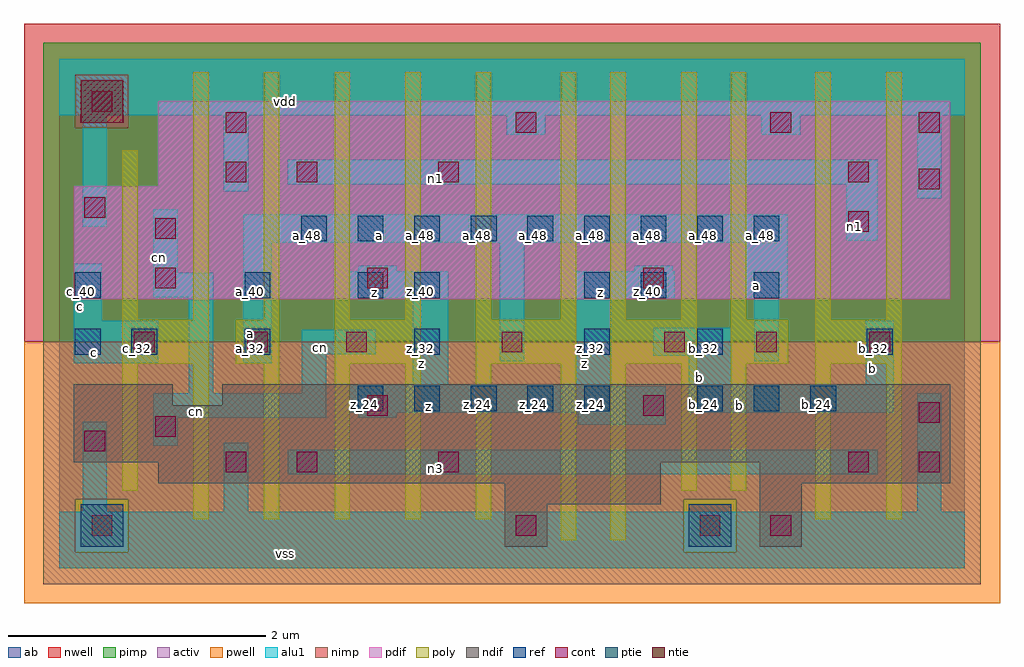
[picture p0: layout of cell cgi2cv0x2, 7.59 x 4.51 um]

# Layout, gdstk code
import gdstk
lib = gdstk.Library(unit=1e-6, precision=2.5e-09)
def R(c, l, rs):  # rectangles x0, y0, x1, y1
    for r in rs: c.add(gdstk.rectangle(r[:2], r[2:], *l))
def A(c, l, x, y, w, h, nx, ny, dx, dy):  # array of equal rectangles
    R(c, l, [(x+i*dx, y+j*dy, x+i*dx+w, y+j*dy+h) for i in range(nx) for j in range(ny)])
ndif = (3, 0)
pdif = (4, 0)
ntie = (5, 0)
ptie = (6, 0)
ref = (24, 0)
cont = (25, 0)
pwell = (41, 0)
nwell = (42, 0)
activ = (43, 0)
pimp = (44, 0)
nimp = (45, 0)
poly = (46, 0)
alu1 = (49, 0)
ab = (63, 0)

cgi2cv0x2 = lib.new_cell('cgi2cv0x2')
R(cgi2cv0x2, ndif, [(3.465,0.165,3.795,0.495), (5.445,0.165,5.775,0.66), (3.465,0.495,4.675,0.66), (0.77,0.66,4.675,0.825), (5.445,0.66,6.93,0.825), (0.11,0.825,6.93,1.265), (0.11,1.265,0.88,1.43), (1.265,1.265,6.93,1.43)])
R(cgi2cv0x2, pdif, [(0.11,2.09,6.93,2.97), (0.77,2.97,6.93,3.63)])
R(cgi2cv0x2, ntie, [(0.165,3.465,0.495,3.795)])
R(cgi2cv0x2, ptie, [(0.165,0.165,0.495,0.495), (4.895,0.165,5.225,0.495)])
A(cgi2cv0x2, ref, 2.32, 1.22, 0.2, 0.2, 5, 1, 0.44, 0)
A(cgi2cv0x2, ref, 4.96, 1.22, 0.2, 0.2, 3, 1, 0.44, 0)
A(cgi2cv0x2, ref, 1.44, 1.66, 0.2, 0.2, 3, 1, 1.32, 0)
A(cgi2cv0x2, ref, 1.88, 2.54, 0.2, 0.2, 9, 1, 0.44, 0)
R(cgi2cv0x2, ref, [(0.12,1.66,0.32,1.86), (0.56,1.66,0.76,1.86), (4.96,1.66,5.16,1.86), (6.28,1.66,6.48,1.86), (0.12,2.1,0.32,2.3), (1.44,2.1,1.64,2.3), (2.32,2.1,2.52,2.3), (2.76,2.1,2.96,2.3), (4.08,2.1,4.28,2.3), (4.52,2.1,4.72,2.3), (5.4,2.1,5.6,2.3)])
R(cgi2cv0x2, cont, [(0.25,0.25,0.41,0.41), (3.55,0.25,3.71,0.41), (4.98,0.25,5.14,0.41), (5.53,0.25,5.69,0.41), (1.295,0.745,1.455,0.905), (1.845,0.745,2.005,0.905), (2.945,0.745,3.105,0.905), (6.135,0.745,6.295,0.905), (6.685,0.745,6.845,0.905), (0.195,0.91,0.355,1.07), (0.745,1.02,0.905,1.18), (6.685,1.13,6.845,1.29), (2.395,1.185,2.555,1.345), (4.54,1.185,4.7,1.345), (0.58,1.68,0.74,1.84), (1.46,1.68,1.62,1.84), (2.23,1.68,2.39,1.84), (3.44,1.68,3.6,1.84), (4.705,1.68,4.865,1.84), (5.42,1.68,5.58,1.84), (6.3,1.68,6.46,1.84), (0.745,2.175,0.905,2.335), (2.395,2.175,2.555,2.335), (4.54,2.175,4.7,2.335), (0.745,2.56,0.905,2.72), (6.135,2.615,6.295,2.775), (0.195,2.725,0.355,2.885), (6.685,2.945,6.845,3.105), (1.295,3,1.455,3.16), (1.845,3,2.005,3.16), (2.945,3,3.105,3.16), (6.135,3,6.295,3.16), (1.295,3.385,1.455,3.545), (3.55,3.385,3.71,3.545), (5.53,3.385,5.69,3.545), (6.685,3.385,6.845,3.545), (0.25,3.55,0.41,3.71)])
R(cgi2cv0x2, pwell, [(-0.275,-0.275,7.315,1.76)])
R(cgi2cv0x2, nwell, [(-0.275,1.76,7.315,4.235)])
R(cgi2cv0x2, activ, [(0.165,0.165,0.495,0.495), (3.465,0.165,3.795,0.495), (4.895,0.165,5.225,0.495), (5.445,0.165,5.775,0.66), (3.465,0.495,4.675,0.66), (0.77,0.66,4.675,0.825), (5.445,0.66,6.93,0.825), (0.11,0.825,6.93,1.265), (0.11,1.265,0.88,1.43), (1.265,1.265,6.93,1.43), (0.11,2.09,6.93,2.97), (0.77,2.97,6.93,3.63), (0.165,3.465,0.495,3.795)])
R(cgi2cv0x2, pimp, [(0.125,0.125,0.535,0.535), (4.855,0.125,5.265,0.535), (-0.125,1.76,7.165,3.425), (-0.125,3.425,0.125,3.835), (0.535,3.425,7.165,3.835), (-0.125,3.835,7.165,4.085)])
R(cgi2cv0x2, nimp, [(-0.125,-0.125,7.165,0.125), (-0.125,0.125,0.125,0.535), (0.535,0.125,4.855,0.535), (5.265,0.125,7.165,0.535), (-0.125,0.535,7.165,1.76), (0.125,3.425,0.535,3.835)])
A(cgi2cv0x2, poly, 1.04, 0.38, 0.12, 1.21, 5, 1, 0.55, 0)
A(cgi2cv0x2, poly, 1.04, 1.93, 0.12, 1.925, 5, 1, 0.55, 0)
R(cgi2cv0x2, poly, [(3.9,0.215,4.02,1.59), (4.285,0.215,4.405,1.59), (5.88,0.38,6,1.59), (6.43,0.38,6.55,1.59), (0.49,0.6,0.61,1.59), (4.835,0.6,4.955,1.59), (5.22,0.6,5.34,1.59), (0.49,1.59,1.16,1.93), (1.37,1.59,1.71,1.93), (2.14,1.59,2.81,1.93), (3.24,1.59,4.02,1.93), (4.285,1.59,4.955,1.93), (5.22,1.59,5.67,1.93), (5.88,1.59,6.55,1.93), (0.49,1.93,0.61,3.25), (3.9,1.93,4.02,3.855), (4.285,1.93,4.405,3.855), (4.835,1.93,4.955,3.855), (5.22,1.93,5.34,3.855), (5.88,1.93,6,3.855), (6.43,1.93,6.55,3.855)])
R(cgi2cv0x2, alu1, [(0,0,7.04,0.44), (0.18,0.44,0.37,1.14), (1.28,0.44,1.47,0.975), (6.67,0.44,6.86,1.36), (1.775,0.73,6.365,0.92), (0.73,0.95,0.92,1.17), (4.03,1.115,4.715,1.21), (0.73,1.17,2.075,1.36), (2.325,1.17,2.625,1.21), (2.255,1.21,4.715,1.415), (4.895,1.21,6.49,1.43), (1.005,1.36,1.195,2.105), (1.885,1.36,2.075,1.665), (2.255,1.415,4.29,1.43), (2.75,1.43,3.025,2.09), (4.015,1.43,4.29,2.09), (4.895,1.43,5.225,1.65), (6.27,1.43,6.49,1.925), (0.11,1.595,0.77,1.925), (1.43,1.595,1.65,2.53), (3.425,1.61,3.615,2.53), (5.405,1.61,5.595,2.09), (4.62,1.65,5.225,1.87), (1.885,1.665,2.46,1.855), (0.11,1.925,0.33,2.365), (2.255,2.09,3.025,2.31), (4.015,2.09,4.785,2.31), (5.335,2.09,5.665,2.53), (0.73,2.105,1.195,2.295), (0.73,2.295,0.92,2.79), (2.325,2.31,2.625,2.35), (4.47,2.31,4.77,2.35), (1.43,2.53,5.665,2.75), (6.12,2.545,6.365,2.985), (0.18,2.655,0.37,3.52), (6.67,2.875,6.86,3.52), (1.28,2.93,1.47,3.52), (1.775,2.985,6.365,3.175), (3.48,3.37,3.78,3.52), (5.46,3.37,5.76,3.52), (0,3.52,7.04,3.96)])
R(cgi2cv0x2, ab, [(0,0,7.04,3.96)])
cgi2cv0x2.add(gdstk.Label('vss', (1.76,0.11), layer=49, texttype=0))
cgi2cv0x2.add(gdstk.Label('n3', (2.9225,0.7775), layer=49, texttype=0))
cgi2cv0x2.add(gdstk.Label('b', (5.2925,1.265), layer=49, texttype=0))
cgi2cv0x2.add(gdstk.Label('z', (2.87,1.26), layer=49, texttype=0))
cgi2cv0x2.add(gdstk.Label('b', (6.325,1.5525), layer=49, texttype=0))
cgi2cv0x2.add(gdstk.Label('b', (4.9775,1.485), layer=49, texttype=0))
cgi2cv0x2.add(gdstk.Label('cn', (1.065,1.2175), layer=49, texttype=0))
cgi2cv0x2.add(gdstk.Label('z', (4.0825,1.595), layer=49, texttype=0))
cgi2cv0x2.add(gdstk.Label('a', (5.4175,2.2), layer=49, texttype=0))
cgi2cv0x2.add(gdstk.Label('z', (4.2075,2.145), layer=49, texttype=0))
cgi2cv0x2.add(gdstk.Label('z', (2.8175,1.595), layer=49, texttype=0))
cgi2cv0x2.add(gdstk.Label('cn', (2.0275,1.7125), layer=49, texttype=0))
cgi2cv0x2.add(gdstk.Label('z', (2.4475,2.145), layer=49, texttype=0))
cgi2cv0x2.add(gdstk.Label('a', (1.485,1.8275), layer=49, texttype=0))
cgi2cv0x2.add(gdstk.Label('c', (0.275,1.6775), layer=49, texttype=0))
cgi2cv0x2.add(gdstk.Label('n1', (6.18,2.655), layer=49, texttype=0))
cgi2cv0x2.add(gdstk.Label('a', (2.4875,2.585), layer=49, texttype=0))
cgi2cv0x2.add(gdstk.Label('cn', (0.7775,2.4175), layer=49, texttype=0))
cgi2cv0x2.add(gdstk.Label('c', (0.165,2.035), layer=49, texttype=0))
cgi2cv0x2.add(gdstk.Label('n1', (2.9225,3.0325), layer=49, texttype=0))
cgi2cv0x2.add(gdstk.Label('vdd', (1.76,3.63), layer=49, texttype=0))
cgi2cv0x2.add(gdstk.Label('b_32', (5.01,1.71), layer=24, texttype=0))
cgi2cv0x2.add(gdstk.Label('b_24', (5.01,1.27), layer=24, texttype=0))
cgi2cv0x2.add(gdstk.Label('a_48', (5.45,2.59), layer=24, texttype=0))
cgi2cv0x2.add(gdstk.Label('z_40', (2.81,2.15), layer=24, texttype=0))
cgi2cv0x2.add(gdstk.Label('c_40', (0.17,2.15), layer=24, texttype=0))
cgi2cv0x2.add(gdstk.Label('z_32', (2.81,1.71), layer=24, texttype=0))
cgi2cv0x2.add(gdstk.Label('a_40', (1.49,2.15), layer=24, texttype=0))
cgi2cv0x2.add(gdstk.Label('c_32', (0.61,1.71), layer=24, texttype=0))
cgi2cv0x2.add(gdstk.Label('c_32', (0.17,1.71), layer=24, texttype=0))
cgi2cv0x2.add(gdstk.Label('a_32', (1.49,1.71), layer=24, texttype=0))
cgi2cv0x2.add(gdstk.Label('z_40', (2.37,2.15), layer=24, texttype=0))
cgi2cv0x2.add(gdstk.Label('a_48', (1.93,2.59), layer=24, texttype=0))
cgi2cv0x2.add(gdstk.Label('a_48', (2.37,2.59), layer=24, texttype=0))
cgi2cv0x2.add(gdstk.Label('z_24', (2.37,1.27), layer=24, texttype=0))
cgi2cv0x2.add(gdstk.Label('z_24', (2.81,1.27), layer=24, texttype=0))
cgi2cv0x2.add(gdstk.Label('z_24', (3.25,1.27), layer=24, texttype=0))
cgi2cv0x2.add(gdstk.Label('z_24', (3.69,1.27), layer=24, texttype=0))
cgi2cv0x2.add(gdstk.Label('z_24', (4.13,1.27), layer=24, texttype=0))
cgi2cv0x2.add(gdstk.Label('z_40', (4.57,2.15), layer=24, texttype=0))
cgi2cv0x2.add(gdstk.Label('z_40', (4.13,2.15), layer=24, texttype=0))
cgi2cv0x2.add(gdstk.Label('z_32', (4.13,1.71), layer=24, texttype=0))
cgi2cv0x2.add(gdstk.Label('a_48', (3.25,2.59), layer=24, texttype=0))
cgi2cv0x2.add(gdstk.Label('a_48', (3.69,2.59), layer=24, texttype=0))
cgi2cv0x2.add(gdstk.Label('a_48', (4.13,2.59), layer=24, texttype=0))
cgi2cv0x2.add(gdstk.Label('a_48', (4.57,2.59), layer=24, texttype=0))
cgi2cv0x2.add(gdstk.Label('a_48', (5.01,2.59), layer=24, texttype=0))
cgi2cv0x2.add(gdstk.Label('a_40', (5.45,2.15), layer=24, texttype=0))
cgi2cv0x2.add(gdstk.Label('b_24', (5.45,1.27), layer=24, texttype=0))
cgi2cv0x2.add(gdstk.Label('b_24', (5.89,1.27), layer=24, texttype=0))
cgi2cv0x2.add(gdstk.Label('b_32', (6.33,1.71), layer=24, texttype=0))
cgi2cv0x2.add(gdstk.Label('a_48', (2.81,2.59), layer=24, texttype=0))

lib.write_gds('cgi2cv0x2.gds')
